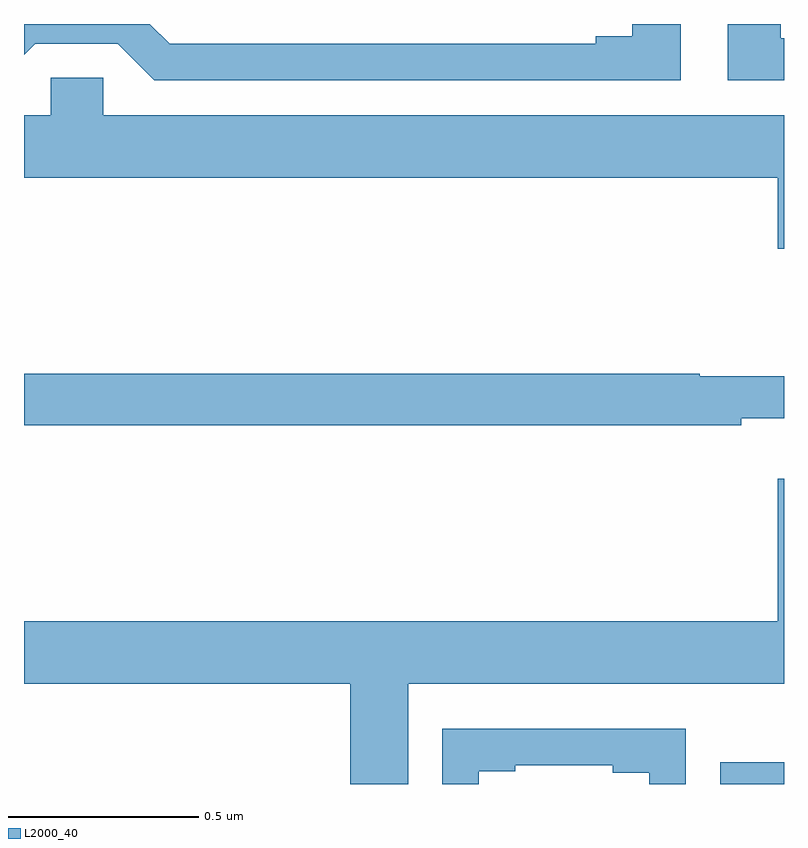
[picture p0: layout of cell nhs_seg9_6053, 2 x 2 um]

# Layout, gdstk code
import gdstk
lib = gdstk.Library(unit=1e-6, precision=1e-09)
def R(c, l, rs):  # rectangles x0, y0, x1, y1
    for r in rs: c.add(gdstk.rectangle(r[:2], r[2:], *l))
def P(c, l, *ps):  # polygons
    for p in ps: c.add(gdstk.Polygon(p, *l))
L2000_40 = (2000, 40)

nhs_seg9_6053 = lib.new_cell('nhs_seg9_6053')
R(nhs_seg9_6053, L2000_40, [(188.832,1185.5,189,1185.557)])
P(nhs_seg9_6053, L2000_40, [(189,1187.463),(188.992,1187.463),(188.992,1187.5),(188.852,1187.5),(188.852,1187.352),(189,1187.352)],
  [(188.728,1187.5),(188.6,1187.5),(188.6,1187.468),(188.504,1187.468),(188.504,1187.448),(187.383,1187.448),(187.331,1187.5),(187,1187.5),(187,1187.419),(187.029,1187.448),(187.247,1187.448),(187.343,1187.352),(188.728,1187.352)],
  [(189,1187.26),(187.209,1187.26),(187.209,1187.358),(187.071,1187.358),(187.071,1187.26),(187,1187.26),(187,1187.096),(188.984,1187.096),(188.984,1186.908),(189,1186.908)],
  [(188.888,1186.463),(189,1186.463),(189,1186.573),(188.778,1186.573),(188.778,1186.58),(187,1186.58),(187,1186.444),(188.888,1186.444)],
  [(188.011,1185.764),(189,1185.764),(189,1186.303),(188.984,1186.303),(188.984,1185.928),(187,1185.928),(187,1185.764),(187.859,1185.764),(187.859,1185.5),(188.011,1185.5)],
  [(188.197,1185.534),(188.293,1185.534),(188.293,1185.549),(188.549,1185.549),(188.549,1185.529),(188.645,1185.529),(188.645,1185.5),(188.742,1185.5),(188.742,1185.645),(188.1,1185.645),(188.1,1185.5),(188.197,1185.5)])

lib.write_gds('nhs_seg9_6053.gds')
